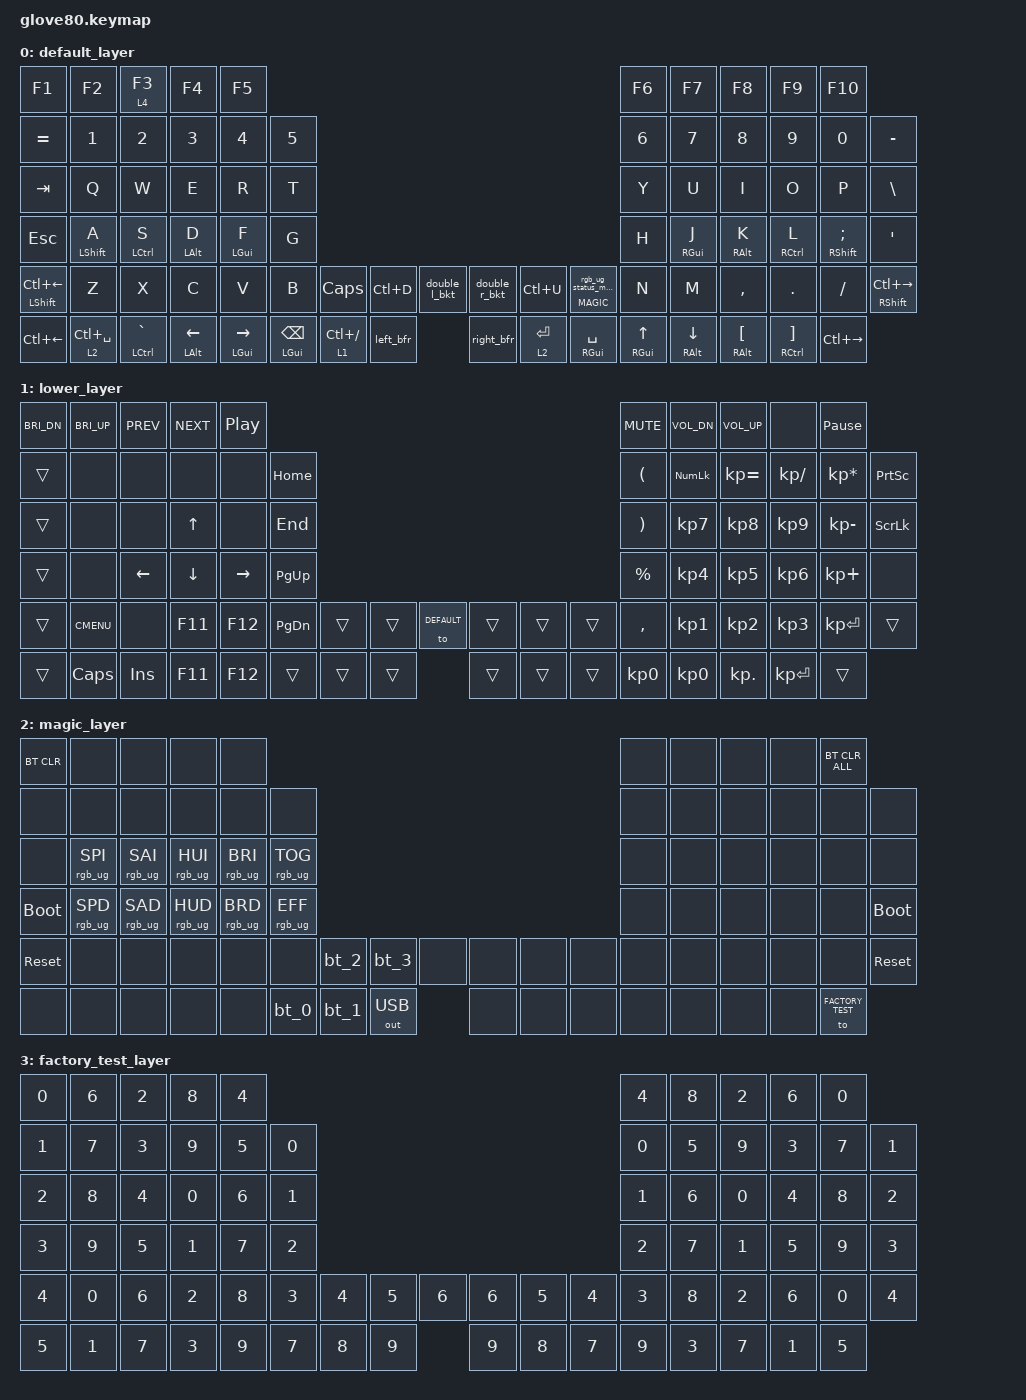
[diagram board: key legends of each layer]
/*
 * Copyright (c) 2020 The ZMK Contributors
 *
 * SPDX-License-Identifier: MIT
 */

#include <behaviors.dtsi>
#include <dt-bindings/zmk/keys.h>
#include <dt-bindings/zmk/bt.h>
#include <dt-bindings/zmk/ext_power.h>
#include <dt-bindings/zmk/outputs.h>
#include <dt-bindings/zmk/rgb.h>

#define HYPER LC(LS(LG(LALT)))

// layers
#define DEFAULT 0
#define LOWER 1
#define MAGIC 2
#define FACTORY_TEST 3

/ {
    behaviors {
        // For the "layer" key, it'd nice to be able to use it as either a shift or a toggle.
        // Configure it as a tap dance, so the first tap (or hold) is a &mo and the second tap is a &to
        layer_td: tap_dance_0 {
            compatible = "zmk,behavior-tap-dance";
            label = "LAYER_TAP_DANCE";
            #binding-cells = <0>;
            tapping-term-ms = <200>;
            bindings = <&mo LOWER>, <&to LOWER>;
        };

        magic: magic_hold_tap {
            compatible = "zmk,behavior-hold-tap";
            label = "MAGIC_HOLD_TAP";
            #binding-cells = <2>;
            flavor = "tap-preferred";
            tapping-term-ms = <200>;
            bindings = <&mo>, <&rgb_ug_status_macro>;
        };
    };

    macros {
        rgb_ug_status_macro: rgb_ug_status_macro_0 {
            label = "RGB_UG_STATUS";
            compatible = "zmk,behavior-macro";
            #binding-cells = <0>;
            bindings
                = <&rgb_ug RGB_STATUS>;
        };

        bt_0: bt_profile_macro_0 {
            label = "BT_0";
            compatible = "zmk,behavior-macro";
            #binding-cells = <0>;
            bindings
                = <&out OUT_BLE>,
                  <&bt BT_SEL 0>;
        };

        bt_1: bt_profile_macro_1 {
            label = "BT_1";
            compatible = "zmk,behavior-macro";
            #binding-cells = <0>;
            bindings
                = <&out OUT_BLE>,
                  <&bt BT_SEL 1>;
        };

        bt_2: bt_profile_macro_2 {
            label = "BT_2";
            compatible = "zmk,behavior-macro";
            #binding-cells = <0>;
            bindings
                = <&out OUT_BLE>,
                  <&bt BT_SEL 2>;
        };

        bt_3: bt_profile_macro_3 {
            label = "BT_3";
            compatible = "zmk,behavior-macro";
            #binding-cells = <0>;
            bindings
                = <&out OUT_BLE>,
                  <&bt BT_SEL 3>;
        };

        double_r_bkt: double_r_bkt {
            compatible = "zmk,behavior-macro";
            #binding-cells = <0>;
            bindings = <&kp LBKT &kp LBKT>;
            label = "DOUBLE_R_BKT";
        };

        double_l_bkt: double_l_bkt {
            compatible = "zmk,behavior-macro";
            #binding-cells = <0>;
            bindings = <&kp RBKT &kp RBKT>;

            label = "DOUBLE_L_BKT";
        };

        right_bfr: right_bfr {
            compatible = "zmk,behavior-macro";
            #binding-cells = <0>;
            bindings = <&kp RBKT &kp B>;
            label = "RIGHT_BFR";
        };

        left_bfr: left_bfr {
            compatible = "zmk,behavior-macro";
            #binding-cells = <0>;
            bindings = <&kp LBKT &kp B>;
            label = "LEFT_BFR";
        };
    };

    keymap {
        compatible = "zmk,keymap";

        default_layer {
            // ---------------------------------------------------------------------------------------------------------------------------------
            // |  F1   |  F2 |  F3 |  F4  |  F5  |                                                               |  F6   |  F7   |  F8  |   F9  |  F10 |
            // |  =    |  1  |  2  |  3   |  4   |  5   |                                                 |  6   |   7   |   8   |  9   |   0   |   -  |
            // |  TAB  |  Q  |  W  |  E   |  R   |  T   |                                                 |  Y   |   U   |   I   |  O   |   P   |   \  |
            // |  ESC  |  A  |  S  |  D   |  F   |  G   |                                                 |  H   |   J   |   K   |  L   |   ;   |   '  |
            // |   `   |  Z  |  X  |  C   |  V   |  B   | LSHFT | LCTRL | LOWER | | LGUI  | RCTRL | RSHFT |  N   |   M   |   ,   |  .   |   /   | PGUP |
            // | MAGIC | HOME| END | LEFT | RIGHT|      | BSPC  | DEL   | LALT  | | RALT  | RET   | SPACE |      |  UP   | DOWN  |  [   |   ]   | PGDN |

            bindings = <
            &kp F1              &kp F2       &lt 4 F3         &kp F4          &kp F5                                                                                                                 &kp F6         &kp F7        &kp F8          &kp F9          &kp F10          
            &kp EQUAL           &kp N1       &kp N2           &kp N3          &kp N4         &kp N5                                                                                                  &kp N6         &kp N7        &kp N8          &kp N9          &kp N0          &kp MINUS
            &kp TAB             &kp Q        &kp W            &kp E           &kp R          &kp T                                                                                                   &kp Y          &kp U         &kp I           &kp O           &kp P           &kp BSLH
            &kp ESC             &mt LSHFT A  &mt LCTRL S      &mt LALT D      &mt LGUI F     &kp G                                                                                                   &kp H          &mt RGUI J    &mt RALT K      &mt RCTRL L     &mt RSHFT SEMI  &kp SQT
            &mt LSHFT LC(LEFT)  &kp Z        &kp X            &kp C           &kp V          &kp B   &kp CAPS       &kp LC(D) &double_l_bkt           &double_r_bkt  &kp LC(U)     &magic MAGIC 0    &kp N          &kp M         &kp COMMA       &kp DOT         &kp FSLH        &mt RSHFT LC(RIGHT)
            &kp LC(LEFT)        &lt 2 LC(SPACE)  &mt LCTRL GRAVE  &mt LALT LEFT  &mt LGUI RIGHT      &mt LGUI BSPC  &lt 1 LC(SLASH)  &left_bfr        &right_bfr     &lt 2 RETURN  &mt RGUI SPACE    &mt RGUI UP    &mt RALT DOWN &mt RALT LBKT   &mt RCTRL RBKT  &kp LC(RIGHT)
            >;
        };

        lower_layer {
            bindings = <
            &kp C_BRI_DN      &kp C_BRI_UP        &kp C_PREV      &kp C_NEXT      &kp C_PP                                                                                                           &kp C_MUTE   &kp C_VOL_DN &kp C_VOL_UP  &none           &kp PAUSE_BREAK
            &trans            &none               &none           &none           &none           &kp HOME                                                                              &kp LPAR     &kp KP_NUM   &kp KP_EQUAL &kp KP_DIVIDE &kp KP_MULTIPLY &kp PSCRN
            &trans            &none               &none           &kp UP          &none           &kp END                                                                               &kp RPAR     &kp KP_N7    &kp KP_N8    &kp KP_N9     &kp KP_MINUS    &kp SLCK
            &trans            &none               &kp LEFT        &kp DOWN        &kp RIGHT       &kp PG_UP                                                                             &kp PRCNT    &kp KP_N4    &kp KP_N5    &kp KP_N6     &kp KP_PLUS     &none
            &trans            &kp K_CMENU         &none           &kp F11         &kp F12         &kp PG_DN       &trans      &trans      &to DEFAULT &trans      &trans      &trans    &kp COMMA    &kp KP_N1    &kp KP_N2    &kp KP_N3     &kp KP_ENTER    &trans
            &trans            &kp CAPS            &kp INS         &kp F11         &kp F12                         &trans      &trans      &trans      &trans      &trans      &trans                 &kp KP_N0    &kp KP_N0    &kp KP_DOT    &kp KP_ENTER    &trans
            >;
        };

        magic_layer {
            bindings = <
            &bt BT_CLR        &none               &none           &none           &none                                                                                                           &none      &none      &none      &none      &bt BT_CLR_ALL
            &none             &none               &none           &none           &none           &none                                                                                &none      &none      &none      &none      &none      &none
            &none             &rgb_ug RGB_SPI     &rgb_ug RGB_SAI &rgb_ug RGB_HUI &rgb_ug RGB_BRI &rgb_ug RGB_TOG                                                                      &none      &none      &none      &none      &none      &none
            &bootloader       &rgb_ug RGB_SPD     &rgb_ug RGB_SAD &rgb_ug RGB_HUD &rgb_ug RGB_BRD &rgb_ug RGB_EFF                                                                      &none      &none      &none      &none      &none      &bootloader
            &sys_reset        &none               &none           &none           &none           &none           &bt_2     &bt_3     &none            &none     &none     &none       &none      &none      &none      &none      &none      &sys_reset
            &none             &none               &none           &none           &none                           &bt_0     &bt_1     &out OUT_USB     &none     &none     &none                  &none      &none      &none      &none      &to FACTORY_TEST
            >;
        };

        factory_test_layer {
            bindings = <
            &kp N0   &kp N6   &kp N2   &kp N8   &kp N4                                                                              &kp N4   &kp N8   &kp N2   &kp N6   &kp N0
            &kp N1   &kp N7   &kp N3   &kp N9   &kp N5   &kp N0                                                            &kp N0   &kp N5   &kp N9   &kp N3   &kp N7   &kp N1
            &kp N2   &kp N8   &kp N4   &kp N0   &kp N6   &kp N1                                                            &kp N1   &kp N6   &kp N0   &kp N4   &kp N8   &kp N2
            &kp N3   &kp N9   &kp N5   &kp N1   &kp N7   &kp N2                                                            &kp N2   &kp N7   &kp N1   &kp N5   &kp N9   &kp N3
            &kp N4   &kp N0   &kp N6   &kp N2   &kp N8   &kp N3   &kp N4   &kp N5   &kp N6      &kp N6   &kp N5   &kp N4   &kp N3   &kp N8   &kp N2   &kp N6   &kp N0   &kp N4
            &kp N5   &kp N1   &kp N7   &kp N3   &kp N9            &kp N7   &kp N8   &kp N9      &kp N9   &kp N8   &kp N7            &kp N9   &kp N3   &kp N7   &kp N1   &kp N5
            >;
        };
    };
};

&mt {
    tapping-term-ms = <200>;
    quick-tap-ms = <300>;
    flavor = "tap-preferred";
};
